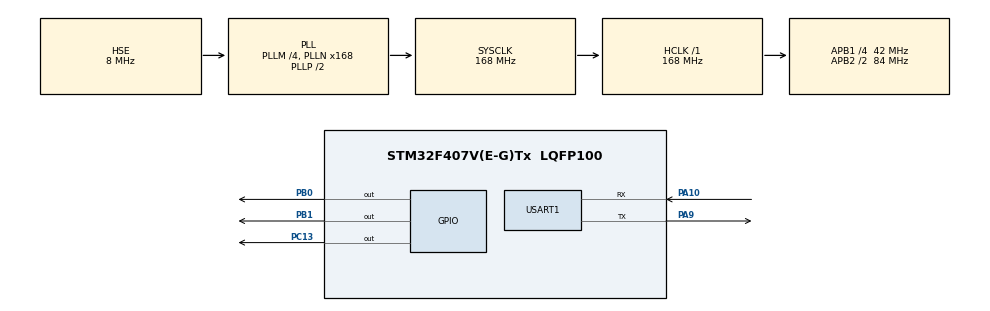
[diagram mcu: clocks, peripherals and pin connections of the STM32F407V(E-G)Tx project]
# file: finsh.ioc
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Mcu.Family=STM32F4
Mcu.Name=STM32F407V(E-G)Tx
Mcu.Package=LQFP100
NVIC.PriorityGroup=NVIC_PRIORITYGROUP_4
NVIC.USART1_IRQn=true\:15\:0\:true\:false\:true\:false\:true\:true\:true
PA10.Mode=Asynchronous
PA10.Signal=USART1_RX
PA13.Mode=Serial_Wire
PA13.Signal=SYS_JTMS-SWDIO
PA14.Mode=Serial_Wire
PA14.Signal=SYS_JTCK-SWCLK
PA9.Mode=Asynchronous
PA9.Signal=USART1_TX
PB0.Signal=GPIO_Output
PB1.Signal=GPIO_Output
PC13-ANTI_TAMP.Signal=GPIO_Output
PH0-OSC_IN.Mode=HSE-External-Oscillator
PH0-OSC_IN.Signal=RCC_OSC_IN
PH1-OSC_OUT.Mode=HSE-External-Oscillator
PH1-OSC_OUT.Signal=RCC_OSC_OUT
ProjectManager.HeapSize=0x200
ProjectManager.StackSize=0x400
ProjectManager.TargetToolchain=MDK-ARM V5.32
RCC.48MHZClocksFreq_Value=84000000
RCC.AHBFreq_Value=168000000
RCC.APB1CLKDivider=RCC_HCLK_DIV4
RCC.APB1Freq_Value=42000000
RCC.APB1TimFreq_Value=84000000
RCC.APB2CLKDivider=RCC_HCLK_DIV2
RCC.APB2Freq_Value=84000000
RCC.APB2TimFreq_Value=168000000
RCC.CortexFreq_Value=168000000
RCC.HCLKFreq_Value=168000000
RCC.HSE_VALUE=8000000
RCC.HSI_VALUE=16000000
RCC.LSE_VALUE=32768
RCC.PLLM=4
RCC.PLLN=168
RCC.PLLSourceVirtual=RCC_PLLSOURCE_HSE
RCC.SYSCLKFreq_VALUE=168000000
RCC.SYSCLKSource=RCC_SYSCLKSOURCE_PLLCLK
RCC.VCOOutputFreq_Value=336000000
RealThread.RT-Thread.3.1.5.RTOSJjkernel=true
RealThread.RT-Thread.3.1.5.RTOSJjshell=true
RealThread.RT-Thread.3.1.5.RT_DEBUG_INIT=1
RealThread.RT-Thread.3.1.5.RT_USING_HEAP=1
RealThread.RT-Thread.3.1.5.RT_USING_MEMPOOL=1
RealThread.RT-Thread.3.1.5.RT_USING_MESSAGEQUEUE=1
RealThread.RT-Thread.3.1.5.RT_USING_MUTEX=1
RealThread.RT-Thread.3.1.5.RT_USING_OVERFLOW_CHECK=1
USART1.VirtualMode=VM_ASYNC
VP_RealThread.RT-Thread_VS_RTOSJjkernel_3.1.5_3.1.5.Mode=RTOSJjkernel
VP_RealThread.RT-Thread_VS_RTOSJjshell_3.1.5_3.1.5.Mode=RTOSJjshell
board=custom

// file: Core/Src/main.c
/* USER CODE BEGIN Header */
/**
  ******************************************************************************
  * @file           : main.c
  * @brief          : Main program body
  ******************************************************************************
  * @attention
  *
  * Copyright (c) 2022 STMicroelectronics.
  * All rights reserved.
  *
  * This software is licensed under terms that can be found in the LICENSE file
  * in the root directory of this software component.
  * If no LICENSE file comes with this software, it is provided AS-IS.
  *
  ******************************************************************************
  */
/* USER CODE END Header */
#include "main.h"
#include "usart.h"
#include "gpio.h"

/* USER CODE BEGIN Includes */
#include "rtthread.h"
/* USER CODE END Includes */

void SystemClock_Config(void);

/* USER CODE BEGIN 0 */
rt_thread_t thread1 = RT_NULL;
rt_thread_t thread2 = RT_NULL;
rt_thread_t thread3 = RT_NULL;

#define isdigit(c)  (((unsigned)(c) - '0') < 10)

static void led_thread_entry(void *parameter)
{
    while (RT_TRUE)
    {
       HAL_GPIO_TogglePin(GPIOB,GPIO_PIN_1);
			 rt_thread_mdelay(500);
    }
}

static void beep_thread_entry(void *parameter)
{
    while (RT_TRUE)
    {
       HAL_GPIO_TogglePin(GPIOB,GPIO_PIN_0);
			 rt_thread_mdelay(500);
    }
}

static void print_thread_entry(void *parameter)
{
    while (RT_TRUE)
    {
       rt_kprintf("hello\r\n");
     	 rt_thread_mdelay(500);
    }
}

#define INT_MAX (2147483647)
#define INT_MIN (-2147483648)
int cag_atoi(char* str)
{
    int data = 0, i = 0;
    int sign = 1;

    /* ???? */
    while (*str == ' ') {
        str++;
    }

    if (*str == '-' || *str == '+') {
        sign = 1 - 2 * (*str++ == '-');/* ??????,?????? */
    }

    while (isdigit(*str)) {
        /* ????????????[0,2,147,483,647]??,???? */
        if (data > INT_MAX / 10 || (data == INT_MAX / 10 && (str[i] > '7'))) {/* 7???????????,??????? */
                if (sign == -1) {
                    return INT_MIN;
                } else {
                    return INT_MAX;
                }
        }

        data = data * 10 + (*str++ - '0');
    }

    return data * sign;
}

rt_err_t msh_led_ctrl(int argc, char *argv[])
{
	if(argc != 3)
  rt_kprintf("input param error.please input such as <msh_beep_ctrl 1>\r\n");
  rt_uint8_t ctrl_num = cag_atoi(argv[1]);
  rt_uint8_t ctrl_val = cag_atoi(argv[2]);
  if(ctrl_num > 2)
    rt_kprintf("num must be more than 0 and less than %d",2);
  if(ctrl_val == 0)
    HAL_GPIO_WritePin(GPIOC,GPIO_PIN_13,GPIO_PIN_SET);
  else
    HAL_GPIO_WritePin(GPIOC,GPIO_PIN_13,GPIO_PIN_RESET);;
  return RT_EOK;
}
/* USER CODE END 0 */

int main(void)
{

    /* MCU Configuration--------------------------------------------------------*/

    /* Reset of all peripherals, Initializes the Flash interface and the Systick. */
    HAL_Init();

    /* Configure the system clock */
    SystemClock_Config();

    /* Initialize all configured peripherals */
    MX_GPIO_Init();
    MX_USART1_UART_Init();
    /* USER CODE BEGIN 2 */
    thread1 = rt_thread_create("led", led_thread_entry, RT_NULL, 1024, 1, 20);
    RT_ASSERT(thread1);
    rt_thread_startup(thread1);
    thread2 = rt_thread_create("beep", beep_thread_entry, RT_NULL, 1024, 2, 20);
    RT_ASSERT(thread2);
    rt_thread_startup(thread2);
    //thread3 = rt_thread_create("print", print_thread_entry, RT_NULL, 1024, 3, 20);
    //RT_ASSERT(thread3);
//rt_thread_startup(thread3);
    /* USER CODE END 2 */

    /* Infinite loop */
    while (1)
    {

    }
}

void SystemClock_Config(void)
{
    RCC_OscInitTypeDef RCC_OscInitStruct = {0};
    RCC_ClkInitTypeDef RCC_ClkInitStruct = {0};

    /** Configure the main internal regulator output voltage
    */
    __HAL_RCC_PWR_CLK_ENABLE();
    __HAL_PWR_VOLTAGESCALING_CONFIG(PWR_REGULATOR_VOLTAGE_SCALE1);

    /** Initializes the RCC Oscillators according to the specified parameters
    * in the RCC_OscInitTypeDef structure.
    */
    RCC_OscInitStruct.OscillatorType = RCC_OSCILLATORTYPE_HSE;
    RCC_OscInitStruct.HSEState = RCC_HSE_ON;
    RCC_OscInitStruct.PLL.PLLState = RCC_PLL_ON;
    RCC_OscInitStruct.PLL.PLLSource = RCC_PLLSOURCE_HSE;
    RCC_OscInitStruct.PLL.PLLM = 4;
    RCC_OscInitStruct.PLL.PLLN = 168;
    RCC_OscInitStruct.PLL.PLLP = RCC_PLLP_DIV2;
    RCC_OscInitStruct.PLL.PLLQ = 4;
    if (HAL_RCC_OscConfig(&RCC_OscInitStruct) != HAL_OK)
    {
        Error_Handler();
    }

    /** Initializes the CPU, AHB and APB buses clocks
    */
    RCC_ClkInitStruct.ClockType = RCC_CLOCKTYPE_HCLK | RCC_CLOCKTYPE_SYSCLK
                                  | RCC_CLOCKTYPE_PCLK1 | RCC_CLOCKTYPE_PCLK2;
    RCC_ClkInitStruct.SYSCLKSource = RCC_SYSCLKSOURCE_PLLCLK;
    RCC_ClkInitStruct.AHBCLKDivider = RCC_SYSCLK_DIV1;
    RCC_ClkInitStruct.APB1CLKDivider = RCC_HCLK_DIV4;
    RCC_ClkInitStruct.APB2CLKDivider = RCC_HCLK_DIV2;

    if (HAL_RCC_ClockConfig(&RCC_ClkInitStruct, FLASH_LATENCY_5) != HAL_OK)
    {
        Error_Handler();
    }
}

void Error_Handler(void)
{
    __disable_irq();
    while (1)
    {
    }
}
